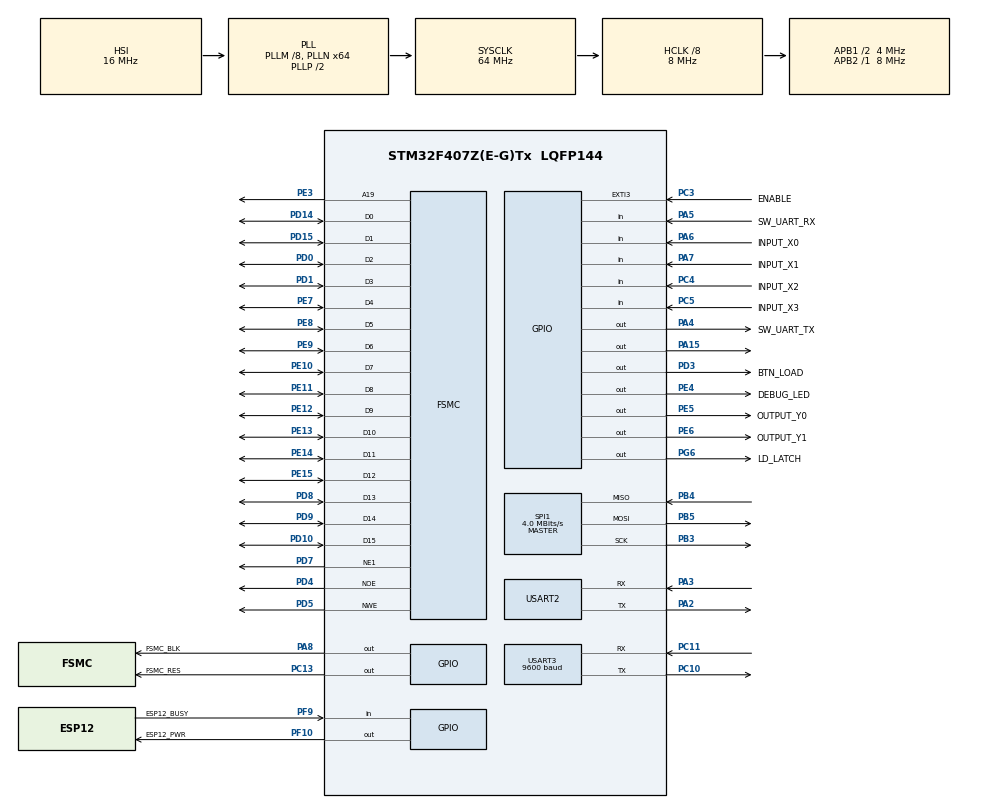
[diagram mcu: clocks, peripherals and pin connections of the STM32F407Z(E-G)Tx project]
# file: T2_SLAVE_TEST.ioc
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FSMC.AddressSetupTime1=0xf
FSMC.BusTurnAroundDuration1=0
FSMC.DataSetupTime1=60
FSMC.ExtendedAddressSetupTime1=8
FSMC.ExtendedBusTurnAroundDuration1=0
FSMC.ExtendedDataSetupTime1=9
FSMC.ExtendedMode1=FSMC_EXTENDED_MODE_ENABLE
Mcu.Family=STM32F4
Mcu.Name=STM32F407Z(E-G)Tx
Mcu.Package=LQFP144
NVIC.EXTI3_IRQn=true\:0\:0\:false\:false\:true\:true\:true
NVIC.PriorityGroup=NVIC_PRIORITYGROUP_4
NVIC.TIM2_IRQn=true\:0\:0\:false\:false\:true\:true\:true
NVIC.USART2_IRQn=true\:0\:0\:false\:false\:true\:true\:true
NVIC.USART3_IRQn=true\:1\:0\:true\:false\:true\:true\:true
PA13.Mode=Serial_Wire
PA13.Signal=SYS_JTMS-SWDIO
PA14.Mode=Serial_Wire
PA14.Signal=SYS_JTCK-SWCLK
PA15.Signal=GPIO_Output
PA2.Mode=Asynchronous
PA2.Signal=USART2_TX
PA3.Mode=Asynchronous
PA3.Signal=USART2_RX
PA4.GPIO_Label=SW_UART_TX
PA4.Signal=GPIO_Output
PA5.GPIO_Label=SW_UART_RX
PA5.Signal=GPIO_Input
PA6.GPIO_Label=INPUT_X0
PA6.Signal=GPIO_Input
PA7.GPIO_Label=INPUT_X1
PA7.Signal=GPIO_Input
PA8.GPIO_Label=FSMC_BLK
PA8.Signal=GPIO_Output
PB3.Mode=Full_Duplex_Master
PB3.Signal=SPI1_SCK
PB4.Mode=Full_Duplex_Master
PB4.Signal=SPI1_MISO
PB5.Mode=Full_Duplex_Master
PB5.Signal=SPI1_MOSI
PC10.Mode=Asynchronous
PC10.Signal=USART3_TX
PC11.Mode=Asynchronous
PC11.Signal=USART3_RX
PC13-ANTI_TAMP.GPIO_Label=FSMC_RES
PC13-ANTI_TAMP.Signal=GPIO_Output
PC3.GPIO_Label=ENABLE
PC3.GPIO_ModeDefaultEXTI=GPIO_MODE_IT_FALLING
PC3.Signal=GPXTI3
PC4.GPIO_Label=INPUT_X2
PC4.Signal=GPIO_Input
PC5.GPIO_Label=INPUT_X3
PC5.Signal=GPIO_Input
PD0.Signal=FSMC_D2_DA2
PD1.Signal=FSMC_D3_DA3
PD10.Signal=FSMC_D15_DA15
PD14.Signal=FSMC_D0_DA0
PD15.Signal=FSMC_D1_DA1
PD3.GPIO_Label=BTN_LOAD
PD3.Signal=GPIO_Output
PD4.Signal=FSMC_NOE
PD5.Signal=FSMC_NWE
PD7.Mode=NorPsramChipSelect1_1
PD7.Signal=FSMC_NE1
PD8.Signal=FSMC_D13_DA13
PD9.Signal=FSMC_D14_DA14
PE10.Signal=FSMC_D7_DA7
PE11.Signal=FSMC_D8_DA8
PE12.Signal=FSMC_D9_DA9
PE13.Signal=FSMC_D10_DA10
PE14.Signal=FSMC_D11_DA11
PE15.Signal=FSMC_D12_DA12
PE3.Signal=FSMC_A19
PE4.GPIO_Label=DEBUG_LED
PE4.Signal=GPIO_Output
PE5.GPIO_Label=OUTPUT_Y0
PE5.Signal=GPIO_Output
PE6.GPIO_Label=OUTPUT_Y1
PE6.Signal=GPIO_Output
PE7.Signal=FSMC_D4_DA4
PE8.Signal=FSMC_D5_DA5
PE9.Signal=FSMC_D6_DA6
PF10.GPIO_Label=ESP12_PWR
PF10.Signal=GPIO_Output
PF9.GPIO_Label=ESP12_BUSY
PF9.Signal=GPIO_Input
PG6.GPIO_Label=LD_LATCH
PG6.Signal=GPIO_Output
PH0-OSC_IN.Mode=HSE-External-Oscillator
PH0-OSC_IN.Signal=RCC_OSC_IN
PH1-OSC_OUT.Mode=HSE-External-Oscillator
PH1-OSC_OUT.Signal=RCC_OSC_OUT
ProjectManager.HeapSize=0x200
ProjectManager.StackSize=0x400
ProjectManager.TargetToolchain=STM32CubeIDE
RCC.48MHZClocksFreq_Value=32000000
RCC.AHBCLKDivider=RCC_SYSCLK_DIV8
RCC.AHBFreq_Value=8000000
RCC.APB1CLKDivider=RCC_HCLK_DIV2
RCC.APB1Freq_Value=4000000
RCC.APB1TimFreq_Value=8000000
RCC.APB2Freq_Value=8000000
RCC.APB2TimFreq_Value=8000000
RCC.CortexFreq_Value=8000000
RCC.HCLKFreq_Value=8000000
RCC.HSE_VALUE=8000000
RCC.HSI_VALUE=16000000
RCC.LSE_VALUE=32768
RCC.PLLM=8
RCC.PLLN=64
RCC.SYSCLKFreq_VALUE=64000000
RCC.SYSCLKSource=RCC_SYSCLKSOURCE_PLLCLK
RCC.VCOOutputFreq_Value=128000000
SH.FSMC_A19.0=FSMC_A19,A19_1
SH.FSMC_D0_DA0.0=FSMC_D0,16b-d1
SH.FSMC_D10_DA10.0=FSMC_D10,16b-d1
SH.FSMC_D11_DA11.0=FSMC_D11,16b-d1
SH.FSMC_D12_DA12.0=FSMC_D12,16b-d1
SH.FSMC_D13_DA13.0=FSMC_D13,16b-d1
SH.FSMC_D14_DA14.0=FSMC_D14,16b-d1
SH.FSMC_D15_DA15.0=FSMC_D15,16b-d1
SH.FSMC_D1_DA1.0=FSMC_D1,16b-d1
SH.FSMC_D2_DA2.0=FSMC_D2,16b-d1
SH.FSMC_D3_DA3.0=FSMC_D3,16b-d1
SH.FSMC_D4_DA4.0=FSMC_D4,16b-d1
SH.FSMC_D5_DA5.0=FSMC_D5,16b-d1
SH.FSMC_D6_DA6.0=FSMC_D6,16b-d1
SH.FSMC_D7_DA7.0=FSMC_D7,16b-d1
SH.FSMC_D8_DA8.0=FSMC_D8,16b-d1
SH.FSMC_D9_DA9.0=FSMC_D9,16b-d1
SH.FSMC_NOE.0=FSMC_NOE,Lcd1
SH.FSMC_NWE.0=FSMC_NWE,Lcd1
SPI1.BaudRatePrescaler=SPI_BAUDRATEPRESCALER_2
SPI1.CalculateBaudRate=4.0 MBits/s
SPI1.Direction=SPI_DIRECTION_2LINES
SPI1.Mode=SPI_MODE_MASTER
SPI1.VirtualType=VM_MASTER
TIM2.Period=65000
TIM2.Prescaler=7
USART2.VirtualMode=VM_ASYNC
USART3.BaudRate=9600
USART3.VirtualMode=VM_ASYNC
VP_TIM2_VS_ClockSourceINT.Mode=Internal
board=custom

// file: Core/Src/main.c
/* USER CODE BEGIN Header */
/**
  ******************************************************************************
  * @file           : main.c
  * @brief          : Main program body
  ******************************************************************************
  * @attention
  *
  * <h2><center>&copy; Copyright (c) 2025 STMicroelectronics.
  * All rights reserved.</center></h2>
  *
  * This software component is licensed by ST under BSD 3-Clause license,
  * the "License"; You may not use this file except in compliance with the
  * License. You may obtain a copy of the License at:
  *                        opensource.org/licenses/BSD-3-Clause
  *
  ******************************************************************************
  */
/* USER CODE END Header */
#include "main.h"
#include "spi.h"
#include "tim.h"
#include "usart.h"
#include "gpio.h"
#include "fsmc.h"

/* USER CODE BEGIN Includes */
#include "soft_uart.h"
#include "lcd.h"
/* USER CODE END Includes */

/* USER CODE BEGIN PD */
#define START_BYTE 0xAA
#define CMD_DISPLAY_TEXT 0x01
#define MAX_DATA_LEN 50
/* USER CODE END PD */

void SystemClock_Config(void);

/* USER CODE BEGIN 0 */
uint8_t EXT_Flag = 0;
/* USER CODE END 0 */

int main(void)
{

  /* MCU Configuration--------------------------------------------------------*/

  /* Reset of all peripherals, Initializes the Flash interface and the Systick. */
  HAL_Init();

  /* Configure the system clock */
  SystemClock_Config();

  /* Initialize all configured peripherals */
  MX_GPIO_Init();
  MX_TIM2_Init();
  MX_SPI1_Init();
  MX_FSMC_Init();
  MX_USART3_UART_Init();
  MX_USART2_UART_Init();
  /* USER CODE BEGIN 2 */
  uint8_t start, cmd, len;
  uint8_t data_buffer[MAX_DATA_LEN];
  uint8_t checksum_received, checksum_calculated;

  soft_uart_init();

  lcd_init();
  lcd_Clear(BLACK);
  lcd_ShowStr(5, 10, "Slave is listening...", YELLOW, BLUE, 24, 0);
  // ===============================================
  /* USER CODE END 2 */

  /* Infinite loop */
  /* USER CODE BEGIN WHILE */

  while (1)
    {
	  if (EXT_Flag){
		  EXT_Flag = 0;
	    	start = soft_uart_receive_byte();
	    	cmd = soft_uart_receive_byte();
	    	len = soft_uart_receive_byte();
	        for (int i = 0; i < len; i++) {
	            data_buffer[i] = soft_uart_receive_byte();
	        }
	        checksum_received = soft_uart_receive_byte();
	        if (start == START_BYTE) {

	            //if (len > MAX_DATA_LEN) continue;

	            checksum_calculated = cmd + len;
	            for (int i = 0; i < len; i++) {
	                checksum_calculated += data_buffer[i];
	            }

	            lcd_ShowStr(10, 70, "Checksum cal:", GREEN, BLACK, 24, 0);
	            lcd_ShowIntNum(170, 70, checksum_calculated, 3, GREEN, BLACK, 24);
	            lcd_ShowStr(10, 100, "Checksum rx:", GREEN, BLACK, 24, 0);
	            lcd_ShowIntNum(170, 100, checksum_received, 3, GREEN, BLACK, 24);

	            if (checksum_calculated == checksum_received) {
	                if (cmd == CMD_DISPLAY_TEXT) {
	                    data_buffer[len] = '\0';
	                    lcd_ShowStr(10, 160, "Received message:", GREEN, BLACK, 24, 0);
	                    lcd_ShowStr(10, 190, "                   ", YELLOW, BLACK, 24, 0);
	                    lcd_ShowStr(10, 190, (char*)data_buffer, YELLOW, BLACK, 24, 0);
	                }
	            } else {
	                lcd_ShowStr(20, 160, "Checksum Error!", RED, BLACK, 24, 0);
	            }
	        }
	  }
    /* USER CODE END WHILE */

    }
}

void SystemClock_Config(void)
{
  RCC_OscInitTypeDef RCC_OscInitStruct = {0};
  RCC_ClkInitTypeDef RCC_ClkInitStruct = {0};

  /** Configure the main internal regulator output voltage
  */
  __HAL_RCC_PWR_CLK_ENABLE();
  __HAL_PWR_VOLTAGESCALING_CONFIG(PWR_REGULATOR_VOLTAGE_SCALE1);
  /** Initializes the RCC Oscillators according to the specified parameters
  * in the RCC_OscInitTypeDef structure.
  */
  RCC_OscInitStruct.OscillatorType = RCC_OSCILLATORTYPE_HSI;
  RCC_OscInitStruct.HSIState = RCC_HSI_ON;
  RCC_OscInitStruct.HSICalibrationValue = RCC_HSICALIBRATION_DEFAULT;
  RCC_OscInitStruct.PLL.PLLState = RCC_PLL_ON;
  RCC_OscInitStruct.PLL.PLLSource = RCC_PLLSOURCE_HSI;
  RCC_OscInitStruct.PLL.PLLM = 8;
  RCC_OscInitStruct.PLL.PLLN = 64;
  RCC_OscInitStruct.PLL.PLLP = RCC_PLLP_DIV2;
  RCC_OscInitStruct.PLL.PLLQ = 4;
  if (HAL_RCC_OscConfig(&RCC_OscInitStruct) != HAL_OK)
  {
    Error_Handler();
  }
  /** Initializes the CPU, AHB and APB buses clocks
  */
  RCC_ClkInitStruct.ClockType = RCC_CLOCKTYPE_HCLK|RCC_CLOCKTYPE_SYSCLK
                              |RCC_CLOCKTYPE_PCLK1|RCC_CLOCKTYPE_PCLK2;
  RCC_ClkInitStruct.SYSCLKSource = RCC_SYSCLKSOURCE_PLLCLK;
  RCC_ClkInitStruct.AHBCLKDivider = RCC_SYSCLK_DIV8;
  RCC_ClkInitStruct.APB1CLKDivider = RCC_HCLK_DIV2;
  RCC_ClkInitStruct.APB2CLKDivider = RCC_HCLK_DIV1;

  if (HAL_RCC_ClockConfig(&RCC_ClkInitStruct, FLASH_LATENCY_0) != HAL_OK)
  {
    Error_Handler();
  }
}

/* USER CODE BEGIN 4 */
void HAL_GPIO_EXTI_Callback(uint16_t GPIO_Pin) {
    if (GPIO_Pin == ENABLE_Pin) { 	// PC3
    	EXT_Flag = 1;
    }
}

/* USER CODE END 4 */

void Error_Handler(void)
{
  __disable_irq();
  while (1)
  {
  }
}

/************************ (C) COPYRIGHT STMicroelectronics *****END OF FILE****/
